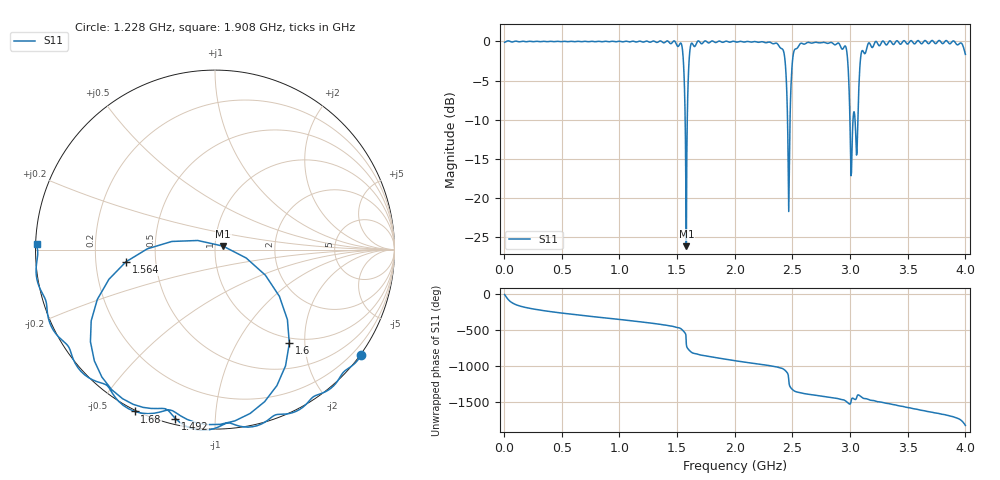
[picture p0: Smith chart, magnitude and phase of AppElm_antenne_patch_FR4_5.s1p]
! TOUCHSTONE file generated by CST MICROWAVE STUDIO
! Date and time: Tue Jun 14 14:10:48 2022
! Project name: AppElm_antenne_patch_FR4.cst
! Parameters = {L=45; W=58.5; e=0.035; h=1.6; lambda=0.190476; ls=120; w0=2.54; w1=0.847; ws=114; y0=18; y1=23.8}
! Header version: 2018
! Port assignment regex: !\s*Touchstone port\s*([0-9]+)\s*=\s*(CST MWS port|CST DS port)\s*([0-9]+|Zmin|Zmax)\s*\(\"(.*)\"\)(\s*mode\s*([0-9]+))?.*
! Touchstone port assignment:
! Touchstone port 1 = CST MWS port 1 ("")
# GHz S MA R 50
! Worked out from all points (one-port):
!   1000 points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, 4 MHz to 4 GHz, reference 50 ohm
!   lowest |S11| = -26.2 dB at 1.58 GHz (marker M1), VSWR 1.10, Z = 54.7 + j2.11 ohm
!   |S11| at or under -10 dB: 1.57 GHz to 1.588 GHz (18.42 MHz wide, 1.17 % of centre); 2.998 GHz to 3.026 GHz (27.34 MHz wide, 0.908 % of centre); 3.043 GHz to 3.068 GHz (24.73 MHz wide, 0.809 % of centre)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
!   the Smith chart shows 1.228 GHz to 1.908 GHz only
!   S11 on the Smith chart (normalised r, x): 1.228 GHz: -0.02, -3.09; 1.492 GHz: 0.03, -0.79; 1.564 GHz: 0.33, -0.06; 1.6 GHz: 0.90, -1.70; 1.68 GHz: -0.00, -0.62; 1.908 GHz: 0.00, +0.01
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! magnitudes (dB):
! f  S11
! 4 MHz  -0.1
! 504 MHz  0.0
! 1.004 GHz  0.0
! 1.228 GHz  0.0
! 1.492 GHz  -0.3
! 1.504 GHz  -0.6
! 1.544 GHz  -0.8
! 1.564 GHz  -6.0
! 1.58 GHz  -26.2
! 1.6 GHz  -3.5
! 1.62 GHz  -0.3
! 1.68 GHz  0.1
! 1.908 GHz  -0.1
! 2.004 GHz  0.0
! 2.408 GHz  -0.9
! 2.432 GHz  -1.9
! 2.468 GHz  -21.7
! 2.484 GHz  -7.2
! 2.504 GHz  -2.0
! 2.576 GHz  -0.2
! 2.952 GHz  -0.6
! 2.976 GHz  -1.9
! 3.004 GHz  -14.2
! 3.056 GHz  -14.5
! 3.092 GHz  -2.0
! 3.112 GHz  -1.2
! 3.504 GHz  -0.3
! 4 GHz  -1.6
